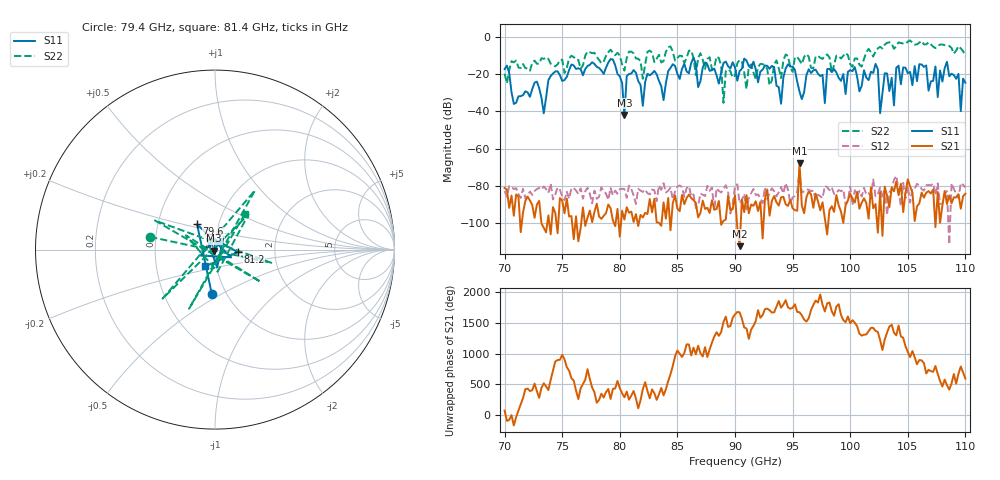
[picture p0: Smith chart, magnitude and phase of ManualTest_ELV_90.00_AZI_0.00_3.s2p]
! 11/25/2026 12:59:38 PM
! C:\ANRITSUVNA\TEMP\TEMP.S2P
! CHANNEL.1
! TR.MEASUREMENT
! RAW.DATA
# HZ S RI R 50.0
! FREQ.HZ  S11RE  S11IM  S21RE  S21IM  S12RE  S12IM  S22RE  S22IM
!; PortSelection: Port_12
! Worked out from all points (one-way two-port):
!   201 points, 70 GHz to 110 GHz, reference 50 ohm
!   highest |S21| = -67.81 dB at 95.6 GHz (marker M1); lowest = -112.2 dB at 90.4 GHz (marker M2)
!   lowest |S11| = -41.9 dB at 80.4 GHz (marker M3), VSWR 1.02, Z = 49.5 - j0.585 ohm
!   |S11| at or under -10 dB: start of sweep to end of sweep
!   |S22| runs from -35.4 to -2.0 dB; largest |S21 - S12| = 0.00065
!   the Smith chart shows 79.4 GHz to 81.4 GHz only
!   S11 on the Smith chart (normalised r, x): 79.4 GHz: 0.86, -0.45; 79.6 GHz: 0.79, +0.23; 81.2 GHz: 1.29, -0.04; 81.4 GHz: 0.88, -0.17
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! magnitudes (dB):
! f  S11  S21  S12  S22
! 70 GHz  -17.4  -81.1  -82.7  -19.8
! 73.4 GHz  -41.0  -102.4  -80.2  -11.8
! 74.2 GHz  -19.7  -91.3  -87.2  -15.2
! 76.8 GHz  -20.6  -91.5  -86.8  -15.4
! 79.4 GHz  -12.2  -98.5  -84.9  -8.7
! 79.6 GHz  -15.3  -101.5  -82.5  -9.8
! 80.4 GHz  -41.9  -98.0  -81.7  -18.1
! 81.2 GHz  -17.9  -99.3  -85.1  -8.9
! 81.4 GHz  -19.3  -95.1  -89.6  -11.6
! 82 GHz  -37.0  -96.9  -83.1  -22.6
! 83.4 GHz  -23.6  -99.7  -79.6  -9.7
! 88.6 GHz  -25.1  -88.0  -82.6  -11.5
! 89 GHz  -14.0  -98.6  -81.6  -35.4
! 90 GHz  -16.4  -84.9  -80.0  -20.8
! 90.4 GHz  -18.4  -112.2  -89.2  -12.4
! 91 GHz  -12.8  -84.9  -92.5  -28.0
! 95.6 GHz  -29.4  -67.8  -71.6  -12.5
! 96.8 GHz  -18.0  -91.7  -82.3  -16.9
! 97.8 GHz  -35.5  -97.2  -80.0  -10.1
! 98 GHz  -17.3  -106.0  -80.6  -9.5
! 103.4 GHz  -29.1  -91.4  -83.2  -2.9
! 110 GHz  -24.6  -84.1  -80.7  -10.4
